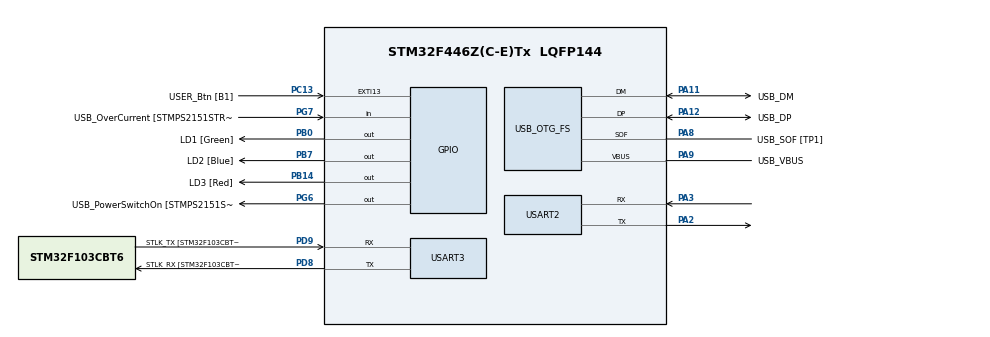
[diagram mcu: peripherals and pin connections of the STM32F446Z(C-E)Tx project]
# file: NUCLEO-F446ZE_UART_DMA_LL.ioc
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Dma.Request0=USART2_RX
Dma.Request1=USART2_TX
Dma.USART2_RX.0.Direction=DMA_PERIPH_TO_MEMORY
Dma.USART2_RX.0.FIFOMode=DMA_FIFOMODE_DISABLE
Dma.USART2_RX.0.Instance=DMA1_Stream5
Dma.USART2_RX.0.MemDataAlignment=DMA_MDATAALIGN_BYTE
Dma.USART2_RX.0.MemInc=DMA_MINC_ENABLE
Dma.USART2_RX.0.Mode=DMA_NORMAL
Dma.USART2_RX.0.PeriphDataAlignment=DMA_PDATAALIGN_BYTE
Dma.USART2_RX.0.PeriphInc=DMA_PINC_DISABLE
Dma.USART2_RX.0.Priority=DMA_PRIORITY_HIGH
Dma.USART2_TX.1.Direction=DMA_MEMORY_TO_PERIPH
Dma.USART2_TX.1.FIFOMode=DMA_FIFOMODE_DISABLE
Dma.USART2_TX.1.Instance=DMA1_Stream6
Dma.USART2_TX.1.MemDataAlignment=DMA_MDATAALIGN_BYTE
Dma.USART2_TX.1.MemInc=DMA_MINC_ENABLE
Dma.USART2_TX.1.Mode=DMA_NORMAL
Dma.USART2_TX.1.PeriphDataAlignment=DMA_PDATAALIGN_BYTE
Dma.USART2_TX.1.PeriphInc=DMA_PINC_DISABLE
Dma.USART2_TX.1.Priority=DMA_PRIORITY_HIGH
Mcu.Family=STM32F4
Mcu.Name=STM32F446Z(C-E)Tx
Mcu.Package=LQFP144
NVIC.DMA1_Stream5_IRQn=true\:0\:0\:false\:false\:true\:false\:true\:true
NVIC.DMA1_Stream6_IRQn=true\:0\:0\:false\:false\:true\:false\:true\:true
NVIC.PriorityGroup=NVIC_PRIORITYGROUP_4
NVIC.USART2_IRQn=true\:0\:0\:false\:false\:true\:true\:true\:true
PA10.GPIO_Label=USB_ID
PA10.Signal=USB_OTG_FS_ID
PA11.GPIO_Label=USB_DM
PA11.Mode=Device_Only
PA11.Signal=USB_OTG_FS_DM
PA12.GPIO_Label=USB_DP
PA12.Mode=Device_Only
PA12.Signal=USB_OTG_FS_DP
PA13.GPIO_Label=TMS
PA13.Mode=Serial_Wire
PA13.Signal=SYS_JTMS-SWDIO
PA14.GPIO_Label=TCK
PA14.Mode=Serial_Wire
PA14.Signal=SYS_JTCK-SWCLK
PA2.Mode=Asynchronous
PA2.Signal=USART2_TX
PA3.Mode=Asynchronous
PA3.Signal=USART2_RX
PA8.GPIO_Label=USB_SOF [TP1]
PA8.Mode=Activate_SOF_FS
PA8.Signal=USB_OTG_FS_SOF
PA9.GPIO_Label=USB_VBUS
PA9.Mode=Activate_VBUS
PA9.Signal=USB_OTG_FS_VBUS
PB0.GPIO_Label=LD1 [Green]
PB0.Signal=GPIO_Output
PB14.GPIO_Label=LD3 [Red]
PB14.Signal=GPIO_Output
PB7.GPIO_Label=LD2 [Blue]
PB7.Signal=GPIO_Output
PC13.GPIO_Label=USER_Btn [B1]
PC13.Signal=GPXTI13
PC14-OSC32_IN.Mode=LSE-External-Oscillator
PC14-OSC32_IN.Signal=RCC_OSC32_IN
PC15-OSC32_OUT.Mode=LSE-External-Oscillator
PC15-OSC32_OUT.Signal=RCC_OSC32_OUT
PD8.GPIO_Label=STLK_RX [STM32F103CBT6_PA3]
PD8.Mode=Asynchronous
PD8.Signal=USART3_TX
PD9.GPIO_Label=STLK_TX [STM32F103CBT6_PA2]
PD9.Mode=Asynchronous
PD9.Signal=USART3_RX
PG6.GPIO_Label=USB_PowerSwitchOn [STMPS2151STR_EN]
PG6.Signal=GPIO_Output
PG7.GPIO_Label=USB_OverCurrent [STMPS2151STR_FAULT]
PG7.Signal=GPIO_Input
PH0-OSC_IN.GPIO_Label=MCO [STM32F103CBT6_PA8]
PH0-OSC_IN.Mode=HSE-External-Clock-Source
PH0-OSC_IN.Signal=RCC_OSC_IN
PH1-OSC_OUT.Mode=HSE-External-Clock-Source
PH1-OSC_OUT.Signal=RCC_OSC_OUT
ProjectManager.HeapSize=0x200
ProjectManager.StackSize=0x400
ProjectManager.TargetToolchain=STM32CubeIDE
RCC.48MHZClocksFreq_Value=24000000
RCC.AHBFreq_Value=168000000
RCC.APB1CLKDivider=RCC_HCLK_DIV4
RCC.APB1Freq_Value=42000000
RCC.APB1TimFreq_Value=84000000
RCC.APB2CLKDivider=RCC_HCLK_DIV2
RCC.APB2Freq_Value=84000000
RCC.APB2TimFreq_Value=168000000
RCC.CortexFreq_Value=168000000
RCC.HCLKFreq_Value=168000000
RCC.HSE_VALUE=8000000
RCC.HSI_VALUE=16000000
RCC.PLLM=4
RCC.PLLMUL=RCC_PLL_MUL9
RCC.PLLN=168
RCC.PLLQ=7
RCC.PRESCALERUSB=RCC_USBCLKSOURCE_PLL_DIV1_5
RCC.SYSCLKFreq_VALUE=168000000
RCC.SYSCLKSource=RCC_SYSCLKSOURCE_PLLCLK
RCC.SYSCLKSourceVirtual=RCC_SYSCLKSOURCE_PLLCLK
RCC.USBFreq_Value=48000000
RCC.VCOOutputFreq_Value=336000000
USART2.VirtualMode=VM_ASYNC
USART3.VirtualMode=VM_ASYNC
USB_OTG_FS.VirtualMode=Device_Only
board=NUCLEO-F446ZE

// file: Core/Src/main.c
/* USER CODE BEGIN Header */
/**
  ******************************************************************************
  * @file           : main.c
  * @brief          : Main program body
  ******************************************************************************
  * @attention
  *
  * Copyright (c) 2024 STMicroelectronics.
  * All rights reserved.
  *
  * This software is licensed under terms that can be found in the LICENSE file
  * in the root directory of this software component.
  * If no LICENSE file comes with this software, it is provided AS-IS.
  *
  ******************************************************************************
  */
/* USER CODE END Header */
#include "main.h"

/* USER CODE BEGIN Includes */
#include "LL_UART_DMA.h"
/* USER CODE END Includes */

/* USER CODE BEGIN PD */
#define Rx_Buffer_Size 30

/* USER CODE END PD */

PCD_HandleTypeDef hpcd_USB_OTG_FS;

/* USER CODE BEGIN PV */

const uint8_t	Tx_Buffer[] 	= "Hello from STM32\n\r low level coding\n\r";
uint8_t	Tx_Data_Size			= sizeof(Tx_Buffer);
volatile uint8_t Tx_Cmplt 		= 0;

//const uint8_t	expected_string[] 	= "AGREED";
//uint8_t expected_string_size		= sizeof(expected_string) -1;

uint8_t	Rx_Buffer [Rx_Buffer_Size];
volatile uint8_t Rx_Cmplt = 0;

uint8_t Tx_Error;
uint8_t Rx_Error;

/* USER CODE END PV */

void SystemClock_Config(void);
static void MX_GPIO_Init(void);
static void MX_DMA_Init(void);
static void MX_USART3_UART_Init(void);
static void MX_USB_OTG_FS_PCD_Init(void);
static void MX_USART2_UART_Init(void);

int main(void)
{

  /* MCU Configuration--------------------------------------------------------*/

  /* Reset of all peripherals, Initializes the Flash interface and the Systick. */
  HAL_Init();

  /* Configure the system clock */
  SystemClock_Config();

  /* Initialize all configured peripherals */
  MX_GPIO_Init();
  MX_DMA_Init();
  MX_USART3_UART_Init();
  MX_USB_OTG_FS_PCD_Init();
  MX_USART2_UART_Init();
  /* USER CODE BEGIN 2 */
  LL_UART_RX_Config(USART2, DMA1, LL_AHB1_GRP1_PERIPH_DMA1, LL_DMA_STREAM_5, DMA1_Stream5_IRQn, Rx_Buffer, sizeof(Rx_Buffer));
  LL_UART_RX_Start(USART2, DMA1, LL_DMA_STREAM_5);

  //wait_txrx_cmplt();
  /* USER CODE END 2 */

  /* Infinite loop */
  while (1)
  {

  }
}

void SystemClock_Config(void)
{
  LL_FLASH_SetLatency(LL_FLASH_LATENCY_5);
  while(LL_FLASH_GetLatency()!= LL_FLASH_LATENCY_5)
  {
  }
  LL_PWR_SetRegulVoltageScaling(LL_PWR_REGU_VOLTAGE_SCALE1);
  LL_PWR_DisableOverDriveMode();
  LL_RCC_HSE_EnableBypass();
  LL_RCC_HSE_Enable();

   /* Wait till HSE is ready */
  while(LL_RCC_HSE_IsReady() != 1)
  {

  }
  LL_RCC_PLL_ConfigDomain_SYS(LL_RCC_PLLSOURCE_HSE, LL_RCC_PLLM_DIV_4, 168, LL_RCC_PLLP_DIV_2);
  LL_RCC_PLL_ConfigDomain_48M(LL_RCC_PLLSOURCE_HSE, LL_RCC_PLLM_DIV_4, 168, LL_RCC_PLLQ_DIV_7);
  LL_RCC_PLL_Enable();

   /* Wait till PLL is ready */
  while(LL_RCC_PLL_IsReady() != 1)
  {

  }
  while (LL_PWR_IsActiveFlag_VOS() == 0)
  {
  }
  LL_RCC_SetAHBPrescaler(LL_RCC_SYSCLK_DIV_1);
  LL_RCC_SetAPB1Prescaler(LL_RCC_APB1_DIV_4);
  LL_RCC_SetAPB2Prescaler(LL_RCC_APB2_DIV_2);
  LL_RCC_SetSysClkSource(LL_RCC_SYS_CLKSOURCE_PLL);

   /* Wait till System clock is ready */
  while(LL_RCC_GetSysClkSource() != LL_RCC_SYS_CLKSOURCE_STATUS_PLL)
  {

  }
  LL_SetSystemCoreClock(168000000);

   /* Update the time base */
  if (HAL_InitTick (TICK_INT_PRIORITY) != HAL_OK)
  {
    Error_Handler();
  }
  LL_RCC_SetTIMPrescaler(LL_RCC_TIM_PRESCALER_TWICE);
}

static void MX_USART2_UART_Init(void)
{

  LL_USART_InitTypeDef USART_InitStruct = {0};

  LL_GPIO_InitTypeDef GPIO_InitStruct = {0};

  /* Peripheral clock enable */
  LL_APB1_GRP1_EnableClock(LL_APB1_GRP1_PERIPH_USART2);

  LL_AHB1_GRP1_EnableClock(LL_AHB1_GRP1_PERIPH_GPIOA);
  /**USART2 GPIO Configuration
  PA2   ------> USART2_TX
  PA3   ------> USART2_RX
  */
  GPIO_InitStruct.Pin = LL_GPIO_PIN_2|LL_GPIO_PIN_3;
  GPIO_InitStruct.Mode = LL_GPIO_MODE_ALTERNATE;
  GPIO_InitStruct.Speed = LL_GPIO_SPEED_FREQ_VERY_HIGH;
  GPIO_InitStruct.OutputType = LL_GPIO_OUTPUT_PUSHPULL;
  GPIO_InitStruct.Pull = LL_GPIO_PULL_NO;
  GPIO_InitStruct.Alternate = LL_GPIO_AF_7;
  LL_GPIO_Init(GPIOA, &GPIO_InitStruct);

  /* USART2 DMA Init */

  /* USART2_RX Init */
  LL_DMA_SetChannelSelection(DMA1, LL_DMA_STREAM_5, LL_DMA_CHANNEL_4);

  LL_DMA_SetDataTransferDirection(DMA1, LL_DMA_STREAM_5, LL_DMA_DIRECTION_PERIPH_TO_MEMORY);

  LL_DMA_SetStreamPriorityLevel(DMA1, LL_DMA_STREAM_5, LL_DMA_PRIORITY_HIGH);

  LL_DMA_SetMode(DMA1, LL_DMA_STREAM_5, LL_DMA_MODE_NORMAL);

  LL_DMA_SetPeriphIncMode(DMA1, LL_DMA_STREAM_5, LL_DMA_PERIPH_NOINCREMENT);

  LL_DMA_SetMemoryIncMode(DMA1, LL_DMA_STREAM_5, LL_DMA_MEMORY_INCREMENT);

  LL_DMA_SetPeriphSize(DMA1, LL_DMA_STREAM_5, LL_DMA_PDATAALIGN_BYTE);

  LL_DMA_SetMemorySize(DMA1, LL_DMA_STREAM_5, LL_DMA_MDATAALIGN_BYTE);

  LL_DMA_DisableFifoMode(DMA1, LL_DMA_STREAM_5);

  /* USART2_TX Init */
  LL_DMA_SetChannelSelection(DMA1, LL_DMA_STREAM_6, LL_DMA_CHANNEL_4);

  LL_DMA_SetDataTransferDirection(DMA1, LL_DMA_STREAM_6, LL_DMA_DIRECTION_MEMORY_TO_PERIPH);

  LL_DMA_SetStreamPriorityLevel(DMA1, LL_DMA_STREAM_6, LL_DMA_PRIORITY_HIGH);

  LL_DMA_SetMode(DMA1, LL_DMA_STREAM_6, LL_DMA_MODE_NORMAL);

  LL_DMA_SetPeriphIncMode(DMA1, LL_DMA_STREAM_6, LL_DMA_PERIPH_NOINCREMENT);

  LL_DMA_SetMemoryIncMode(DMA1, LL_DMA_STREAM_6, LL_DMA_MEMORY_INCREMENT);

  LL_DMA_SetPeriphSize(DMA1, LL_DMA_STREAM_6, LL_DMA_PDATAALIGN_BYTE);

  LL_DMA_SetMemorySize(DMA1, LL_DMA_STREAM_6, LL_DMA_MDATAALIGN_BYTE);

  LL_DMA_DisableFifoMode(DMA1, LL_DMA_STREAM_6);

  /* USART2 interrupt Init */
  NVIC_SetPriority(USART2_IRQn, NVIC_EncodePriority(NVIC_GetPriorityGrouping(),0, 0));
  NVIC_EnableIRQ(USART2_IRQn);

  /* USER CODE BEGIN USART2_Init 1 */

  /*ENABLE DMA NVIC PRIOTIRY*/

  NVIC_SetPriority(DMA1_Stream6_IRQn, 0);

  /*ENABLE DMA NVIC IRQN*/

  NVIC_EnableIRQ(DMA1_Stream6_IRQn);

  /*CONFIGURE DMA TRANSFER*/
  LL_DMA_ConfigTransfer(DMA1, LL_DMA_STREAM_6,
		  	  	  	  	 LL_DMA_DIRECTION_MEMORY_TO_PERIPH	|
		  	  	  	  	 LL_DMA_PRIORITY_HIGH			  	|
						 LL_DMA_MODE_NORMAL					|
						 LL_DMA_PERIPH_NOINCREMENT			|
						 LL_DMA_MEMORY_INCREMENT			|
						 LL_DMA_PDATAALIGN_BYTE				|
						 LL_DMA_MDATAALIGN_BYTE				);

  /*Configure transfer address and direction*/

  LL_DMA_ConfigAddresses(DMA1,
		  	  	  	  	 LL_DMA_STREAM_6,
						 LL_USART_DMA_GetRegAddr(USART2) ,
		  	  	  	  	 (uint32_t)Tx_Buffer,
						 LL_DMA_DIRECTION_MEMORY_TO_PERIPH);

  /* Set data lenght */

  LL_DMA_SetDataLength(DMA1, LL_DMA_STREAM_6, Tx_Data_Size);

  LL_DMA_EnableIT_TC(DMA1, LL_DMA_STREAM_6);
  LL_DMA_EnableIT_TE(DMA1, LL_DMA_STREAM_6);

  /* USER CODE END USART2_Init 1 */
  USART_InitStruct.BaudRate = 115200;
  USART_InitStruct.DataWidth = LL_USART_DATAWIDTH_8B;
  USART_InitStruct.StopBits = LL_USART_STOPBITS_1;
  USART_InitStruct.Parity = LL_USART_PARITY_NONE;
  USART_InitStruct.TransferDirection = LL_USART_DIRECTION_TX_RX;
  USART_InitStruct.HardwareFlowControl = LL_USART_HWCONTROL_NONE;
  USART_InitStruct.OverSampling = LL_USART_OVERSAMPLING_16;
  LL_USART_Init(USART2, &USART_InitStruct);
  LL_USART_ConfigAsyncMode(USART2);
  LL_USART_Enable(USART2);

}

static void MX_USART3_UART_Init(void)
{

  LL_USART_InitTypeDef USART_InitStruct = {0};

  LL_GPIO_InitTypeDef GPIO_InitStruct = {0};

  /* Peripheral clock enable */
  LL_APB1_GRP1_EnableClock(LL_APB1_GRP1_PERIPH_USART3);

  LL_AHB1_GRP1_EnableClock(LL_AHB1_GRP1_PERIPH_GPIOD);
  /**USART3 GPIO Configuration
  PD8   ------> USART3_TX
  PD9   ------> USART3_RX
  */
  GPIO_InitStruct.Pin = STLK_RX_Pin|STLK_TX_Pin;
  GPIO_InitStruct.Mode = LL_GPIO_MODE_ALTERNATE;
  GPIO_InitStruct.Speed = LL_GPIO_SPEED_FREQ_VERY_HIGH;
  GPIO_InitStruct.OutputType = LL_GPIO_OUTPUT_PUSHPULL;
  GPIO_InitStruct.Pull = LL_GPIO_PULL_NO;
  GPIO_InitStruct.Alternate = LL_GPIO_AF_7;
  LL_GPIO_Init(GPIOD, &GPIO_InitStruct);

  USART_InitStruct.BaudRate = 115200;
  USART_InitStruct.DataWidth = LL_USART_DATAWIDTH_8B;
  USART_InitStruct.StopBits = LL_USART_STOPBITS_1;
  USART_InitStruct.Parity = LL_USART_PARITY_NONE;
  USART_InitStruct.TransferDirection = LL_USART_DIRECTION_TX_RX;
  USART_InitStruct.HardwareFlowControl = LL_USART_HWCONTROL_NONE;
  USART_InitStruct.OverSampling = LL_USART_OVERSAMPLING_16;
  LL_USART_Init(USART3, &USART_InitStruct);
  LL_USART_ConfigAsyncMode(USART3);
  LL_USART_Enable(USART3);

}

static void MX_USB_OTG_FS_PCD_Init(void)
{

  hpcd_USB_OTG_FS.Instance = USB_OTG_FS;
  hpcd_USB_OTG_FS.Init.dev_endpoints = 6;
  hpcd_USB_OTG_FS.Init.speed = PCD_SPEED_FULL;
  hpcd_USB_OTG_FS.Init.dma_enable = DISABLE;
  hpcd_USB_OTG_FS.Init.phy_itface = PCD_PHY_EMBEDDED;
  hpcd_USB_OTG_FS.Init.Sof_enable = ENABLE;
  hpcd_USB_OTG_FS.Init.low_power_enable = DISABLE;
  hpcd_USB_OTG_FS.Init.lpm_enable = DISABLE;
  hpcd_USB_OTG_FS.Init.vbus_sensing_enable = ENABLE;
  hpcd_USB_OTG_FS.Init.use_dedicated_ep1 = DISABLE;
  if (HAL_PCD_Init(&hpcd_USB_OTG_FS) != HAL_OK)
  {
    Error_Handler();
  }

}

static void MX_DMA_Init(void)
{

  /* Init with LL driver */
  /* DMA controller clock enable */
  LL_AHB1_GRP1_EnableClock(LL_AHB1_GRP1_PERIPH_DMA1);

  /* DMA interrupt init */
  /* DMA1_Stream5_IRQn interrupt configuration */
  NVIC_SetPriority(DMA1_Stream5_IRQn, NVIC_EncodePriority(NVIC_GetPriorityGrouping(),0, 0));
  NVIC_EnableIRQ(DMA1_Stream5_IRQn);
  /* DMA1_Stream6_IRQn interrupt configuration */
  NVIC_SetPriority(DMA1_Stream6_IRQn, NVIC_EncodePriority(NVIC_GetPriorityGrouping(),0, 0));
  NVIC_EnableIRQ(DMA1_Stream6_IRQn);

}

static void MX_GPIO_Init(void)
{
  LL_EXTI_InitTypeDef EXTI_InitStruct = {0};
  LL_GPIO_InitTypeDef GPIO_InitStruct = {0};

  /* GPIO Ports Clock Enable */
  LL_AHB1_GRP1_EnableClock(LL_AHB1_GRP1_PERIPH_GPIOC);
  LL_AHB1_GRP1_EnableClock(LL_AHB1_GRP1_PERIPH_GPIOH);
  LL_AHB1_GRP1_EnableClock(LL_AHB1_GRP1_PERIPH_GPIOA);
  LL_AHB1_GRP1_EnableClock(LL_AHB1_GRP1_PERIPH_GPIOB);
  LL_AHB1_GRP1_EnableClock(LL_AHB1_GRP1_PERIPH_GPIOD);
  LL_AHB1_GRP1_EnableClock(LL_AHB1_GRP1_PERIPH_GPIOG);

  /**/
  LL_GPIO_ResetOutputPin(GPIOB, LD1_Pin|LD3_Pin|LD2_Pin);

  /**/
  LL_GPIO_ResetOutputPin(USB_PowerSwitchOn_GPIO_Port, USB_PowerSwitchOn_Pin);

  /**/
  LL_SYSCFG_SetEXTISource(LL_SYSCFG_EXTI_PORTC, LL_SYSCFG_EXTI_LINE13);

  /**/
  EXTI_InitStruct.Line_0_31 = LL_EXTI_LINE_13;
  EXTI_InitStruct.LineCommand = ENABLE;
  EXTI_InitStruct.Mode = LL_EXTI_MODE_IT;
  EXTI_InitStruct.Trigger = LL_EXTI_TRIGGER_RISING;
  LL_EXTI_Init(&EXTI_InitStruct);

  /**/
  LL_GPIO_SetPinPull(USER_Btn_GPIO_Port, USER_Btn_Pin, LL_GPIO_PULL_NO);

  /**/
  LL_GPIO_SetPinMode(USER_Btn_GPIO_Port, USER_Btn_Pin, LL_GPIO_MODE_INPUT);

  /**/
  GPIO_InitStruct.Pin = LD1_Pin|LD3_Pin|LD2_Pin;
  GPIO_InitStruct.Mode = LL_GPIO_MODE_OUTPUT;
  GPIO_InitStruct.Speed = LL_GPIO_SPEED_FREQ_LOW;
  GPIO_InitStruct.OutputType = LL_GPIO_OUTPUT_PUSHPULL;
  GPIO_InitStruct.Pull = LL_GPIO_PULL_NO;
  LL_GPIO_Init(GPIOB, &GPIO_InitStruct);

  /**/
  GPIO_InitStruct.Pin = USB_PowerSwitchOn_Pin;
  GPIO_InitStruct.Mode = LL_GPIO_MODE_OUTPUT;
  GPIO_InitStruct.Speed = LL_GPIO_SPEED_FREQ_LOW;
  GPIO_InitStruct.OutputType = LL_GPIO_OUTPUT_PUSHPULL;
  GPIO_InitStruct.Pull = LL_GPIO_PULL_NO;
  LL_GPIO_Init(USB_PowerSwitchOn_GPIO_Port, &GPIO_InitStruct);

  /**/
  GPIO_InitStruct.Pin = USB_OverCurrent_Pin;
  GPIO_InitStruct.Mode = LL_GPIO_MODE_INPUT;
  GPIO_InitStruct.Pull = LL_GPIO_PULL_NO;
  LL_GPIO_Init(USB_OverCurrent_GPIO_Port, &GPIO_InitStruct);

}

/* USER CODE BEGIN 4 */

void start_transfer(void){

	LL_USART_EnableDMAReq_RX(USART2);
	LL_USART_EnableDMAReq_TX(USART2);

	LL_DMA_EnableStream(DMA1, LL_DMA_STREAM_5);
	LL_DMA_EnableStream(DMA1, LL_DMA_STREAM_6);

}

/* USER CODE END 4 */

void Error_Handler(void)
{
  __disable_irq();
  while (1)
  {
  }
}
